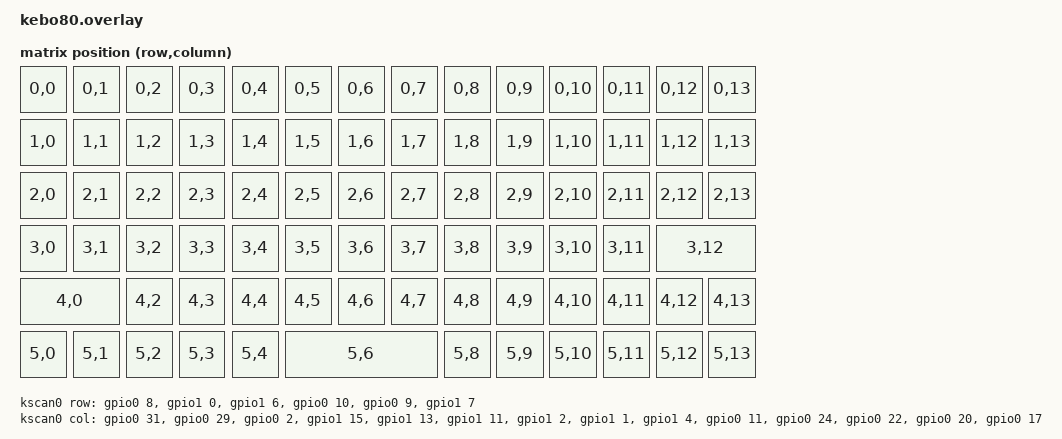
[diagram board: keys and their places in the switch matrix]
#include <dt-bindings/zmk/matrix_transform.h>
#include <physical_layouts.dtsi>

/ {
    chosen {
        zmk,kscan               = &kscan0;
        zmk,physical-layout     = &phlo0;
    };

    kscan0: kscan {
        compatible      =   "zmk,kscan-gpio-matrix";
        diode-direction =   "row2col";
        row-gpios       =   <&gpio0 8   (GPIO_ACTIVE_HIGH)>,
                            <&gpio1 0   (GPIO_ACTIVE_HIGH)>,
                            <&gpio1 6   (GPIO_ACTIVE_HIGH)>,
                            <&gpio0 10  (GPIO_ACTIVE_HIGH)>,
                            <&gpio0 9   (GPIO_ACTIVE_HIGH)>,
                            <&gpio1 7   (GPIO_ACTIVE_HIGH)>;
        col-gpios       =   <&gpio0 31  (GPIO_ACTIVE_HIGH | GPIO_PULL_DOWN)>,
                            <&gpio0 29  (GPIO_ACTIVE_HIGH | GPIO_PULL_DOWN)>,
                            <&gpio0 2   (GPIO_ACTIVE_HIGH | GPIO_PULL_DOWN)>,
                            <&gpio1 15  (GPIO_ACTIVE_HIGH | GPIO_PULL_DOWN)>,
                            <&gpio1 13  (GPIO_ACTIVE_HIGH | GPIO_PULL_DOWN)>,
                            <&gpio1 11  (GPIO_ACTIVE_HIGH | GPIO_PULL_DOWN)>,
                            <&gpio1 2   (GPIO_ACTIVE_HIGH | GPIO_PULL_DOWN)>,
                            <&gpio1 1   (GPIO_ACTIVE_HIGH | GPIO_PULL_DOWN)>,
                            <&gpio1 4   (GPIO_ACTIVE_HIGH | GPIO_PULL_DOWN)>,
                            <&gpio0 11  (GPIO_ACTIVE_HIGH | GPIO_PULL_DOWN)>,
                            <&gpio0 24  (GPIO_ACTIVE_HIGH | GPIO_PULL_DOWN)>,
                            <&gpio0 22  (GPIO_ACTIVE_HIGH | GPIO_PULL_DOWN)>,
                            <&gpio0 20  (GPIO_ACTIVE_HIGH | GPIO_PULL_DOWN)>,
                            <&gpio0 17  (GPIO_ACTIVE_HIGH | GPIO_PULL_DOWN)>;
    };

    mtx0: matrix_transform {
        compatible      =   "zmk,matrix-transform";
        rows            =   <6>;
        columns         =   <14>;
        map             =   <
                                RC(0,0) RC(0,1) RC(0,2) RC(0,3) RC(0,4) RC(0,5) RC(0,6) RC(0,7) RC(0,8) RC(0,9) RC(0,10) RC(0,11) RC(0,12) RC(0,13)
                                RC(1,0) RC(1,1) RC(1,2) RC(1,3) RC(1,4) RC(1,5) RC(1,6) RC(1,7) RC(1,8) RC(1,9) RC(1,10) RC(1,11) RC(1,12) RC(1,13)
                                RC(2,0) RC(2,1) RC(2,2) RC(2,3) RC(2,4) RC(2,5) RC(2,6) RC(2,7) RC(2,8) RC(2,9) RC(2,10) RC(2,11) RC(2,12) RC(2,13)
                                RC(3,0) RC(3,1) RC(3,2) RC(3,3) RC(3,4) RC(3,5) RC(3,6) RC(3,7) RC(3,8) RC(3,9) RC(3,10) RC(3,11)      RC(3,12)
                                    RC(4,0)     RC(4,2) RC(4,3) RC(4,4) RC(4,5) RC(4,6) RC(4,7) RC(4,8) RC(4,9) RC(4,10) RC(4,11) RC(4,12) RC(4,13)
                                RC(5,0) RC(5,1) RC(5,2) RC(5,3) RC(5,4)         RC(5,6)         RC(5,8) RC(5,9) RC(5,10) RC(5,11) RC(5,12) RC(5,13)
        >;
    };

    phlo0: physical-layout {
        compatible      =   "zmk,physical-layout";
        display-name    =   "Default Layout";
        kscan           =   <&kscan0>;
        transform       =   <&mtx0>;
        keys            =   <&key_physical_attrs 100 100 0 0 0 0 0>,    <&key_physical_attrs 100 100 106 0 0 0 0>,      <&key_physical_attrs 100 100 212 0 0 0 0>,      <&key_physical_attrs 100 100 318 0 0 0 0>,      <&key_physical_attrs 100 100 424 0 0 0 0>,      <&key_physical_attrs 100 100 530 0 0 0 0>,      <&key_physical_attrs 100 100 636 0 0 0 0>,      <&key_physical_attrs 100 100 742 0 0 0 0>,      <&key_physical_attrs 100 100 848 0 0 0 0>,      <&key_physical_attrs 100 100 954 0 0 0 0>,      <&key_physical_attrs 100 100 1060 0 0 0 0>,     <&key_physical_attrs 100 100 1166 0 0 0 0>,     <&key_physical_attrs 100 100 1272 0 0 0 0>,     <&key_physical_attrs 100 100 1378 0 0 0 0>,
                            <&key_physical_attrs 100 100 0 106 0 0 0>,  <&key_physical_attrs 100 100 106 106 0 0 0>,    <&key_physical_attrs 100 100 212 106 0 0 0>,    <&key_physical_attrs 100 100 318 106 0 0 0>,    <&key_physical_attrs 100 100 424 106 0 0 0>,    <&key_physical_attrs 100 100 530 106 0 0 0>,    <&key_physical_attrs 100 100 636 106 0 0 0>,    <&key_physical_attrs 100 100 742 106 0 0 0>,    <&key_physical_attrs 100 100 848 106 0 0 0>,    <&key_physical_attrs 100 100 954 106 0 0 0>,    <&key_physical_attrs 100 100 1060 106 0 0 0>,   <&key_physical_attrs 100 100 1166 106 0 0 0>,   <&key_physical_attrs 100 100 1272 106 0 0 0>,   <&key_physical_attrs 100 100 1378 106 0 0 0>,
                            <&key_physical_attrs 100 100 0 212 0 0 0>,  <&key_physical_attrs 100 100 106 212 0 0 0>,    <&key_physical_attrs 100 100 212 212 0 0 0>,    <&key_physical_attrs 100 100 318 212 0 0 0>,    <&key_physical_attrs 100 100 424 212 0 0 0>,    <&key_physical_attrs 100 100 530 212 0 0 0>,    <&key_physical_attrs 100 100 636 212 0 0 0>,    <&key_physical_attrs 100 100 742 212 0 0 0>,    <&key_physical_attrs 100 100 848 212 0 0 0>,    <&key_physical_attrs 100 100 954 212 0 0 0>,    <&key_physical_attrs 100 100 1060 212 0 0 0>,   <&key_physical_attrs 100 100 1166 212 0 0 0>,   <&key_physical_attrs 100 100 1272 212 0 0 0>,   <&key_physical_attrs 100 100 1378 212 0 0 0>,
                            <&key_physical_attrs 100 100 0 318 0 0 0>,  <&key_physical_attrs 100 100 106 318 0 0 0>,    <&key_physical_attrs 100 100 212 318 0 0 0>,    <&key_physical_attrs 100 100 318 318 0 0 0>,    <&key_physical_attrs 100 100 424 318 0 0 0>,    <&key_physical_attrs 100 100 530 318 0 0 0>,    <&key_physical_attrs 100 100 636 318 0 0 0>,    <&key_physical_attrs 100 100 742 318 0 0 0>,    <&key_physical_attrs 100 100 848 318 0 0 0>,    <&key_physical_attrs 100 100 954 318 0 0 0>,    <&key_physical_attrs 100 100 1060 318 0 0 0>,   <&key_physical_attrs 100 100 1166 318 0 0 0>,                        <&key_physical_attrs 206 100 1272 318 0 0 0>,
                                                 <&key_physical_attrs 206 100 0 424 0 0 0>,                             <&key_physical_attrs 100 100 212 424 0 0 0>,    <&key_physical_attrs 100 100 318 424 0 0 0>,    <&key_physical_attrs 100 100 424 424 0 0 0>,    <&key_physical_attrs 100 100 530 424 0 0 0>,    <&key_physical_attrs 100 100 636 424 0 0 0>,    <&key_physical_attrs 100 100 742 424 0 0 0>,    <&key_physical_attrs 100 100 848 424 0 0 0>,    <&key_physical_attrs 100 100 954 424 0 0 0>,    <&key_physical_attrs 100 100 1060 424 0 0 0>,   <&key_physical_attrs 100 100 1166 424 0 0 0>,   <&key_physical_attrs 100 100 1272 424 0 0 0>,   <&key_physical_attrs 100 100 1378 424 0 0 0>,
                            <&key_physical_attrs 100 100 0 530 0 0 0>,  <&key_physical_attrs 100 100 106 530 0 0 0>,    <&key_physical_attrs 100 100 212 530 0 0 0>,    <&key_physical_attrs 100 100 318 530 0 0 0>,    <&key_physical_attrs 100 100 424 530 0 0 0>,                                                    <&key_physical_attrs 312 100 530 530 0 0 0>,                                                    <&key_physical_attrs 100 100 848 530 0 0 0>,    <&key_physical_attrs 100 100 954 530 0 0 0>,    <&key_physical_attrs 100 100 1060 530 0 0 0>,   <&key_physical_attrs 100 100 1166 530 0 0 0>,   <&key_physical_attrs 100 100 1272 530 0 0 0>,   <&key_physical_attrs 100 100 1378 530 0 0 0>;
    };
};
